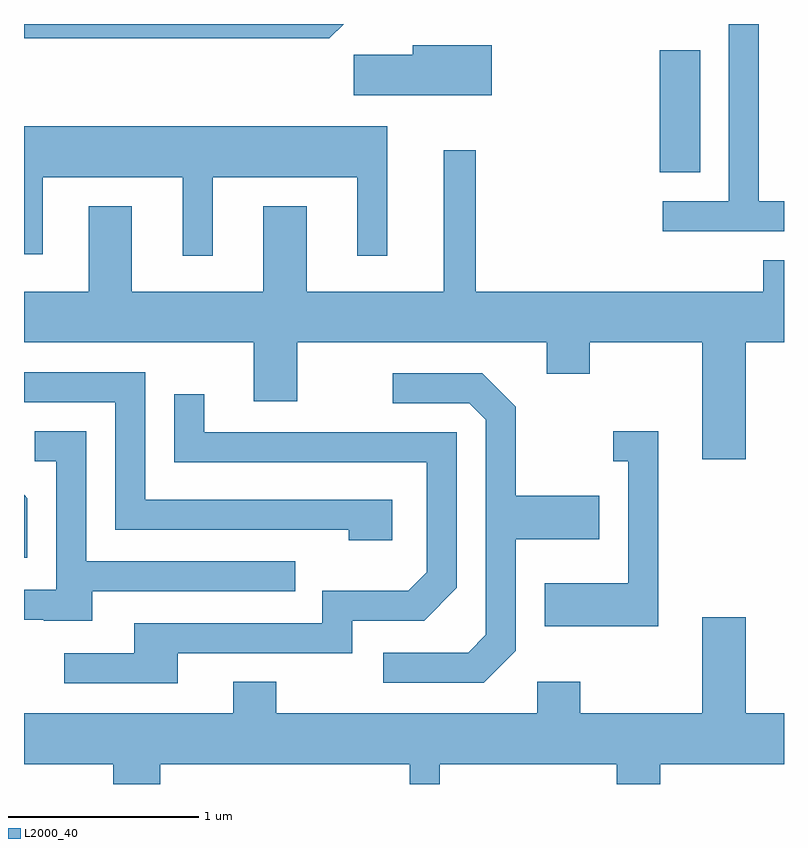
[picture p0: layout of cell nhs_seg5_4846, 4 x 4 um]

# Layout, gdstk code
import gdstk
lib = gdstk.Library(unit=1e-6, precision=1e-09)
def R(c, l, rs):  # rectangles x0, y0, x1, y1
    for r in rs: c.add(gdstk.rectangle(r[:2], r[2:], *l))
def P(c, l, *ps):  # polygons
    for p in ps: c.add(gdstk.Polygon(p, *l))
L2000_40 = (2000, 40)

nhs_seg5_4846 = lib.new_cell('nhs_seg5_4846')
R(nhs_seg5_4846, L2000_40, [(332.956,1413.291,333.169,1413.934)])
P(nhs_seg5_4846, L2000_40, [(331.293,1414.072),(329.611,1414.072),(329.611,1413.996),(331.217,1413.996)],
  [(333.611,1413.139),(333.479,1413.139),(333.479,1414.072),(333.321,1414.072),(333.321,1413.139),(332.973,1413.139),(332.973,1412.981),(333.611,1412.981)],
  [(332.074,1413.959),(331.656,1413.959),(331.656,1413.909),(331.346,1413.909),(331.346,1413.696),(332.074,1413.696)],
  [(330.604,1413.266),(331.366,1413.266),(331.366,1412.853),(331.524,1412.853),(331.524,1413.534),(329.611,1413.534),(329.611,1412.861),(329.709,1412.861),(329.709,1413.266),(330.446,1413.266),(330.446,1412.853),(330.604,1412.853)],
  [(333.409,1412.396),(333.611,1412.396),(333.611,1412.829),(333.501,1412.829),(333.501,1412.664),(331.989,1412.664),(331.989,1413.408),(331.821,1413.408),(331.821,1412.664),(331.099,1412.664),(331.099,1413.114),(330.871,1413.114),(330.871,1412.664),(330.179,1412.664),(330.179,1413.114),(329.951,1413.114),(329.951,1412.664),(329.611,1412.664),(329.611,1412.396),(330.821,1412.396),(330.821,1412.086),(331.049,1412.086),(331.049,1412.396),(332.361,1412.396),(332.361,1412.231),(332.589,1412.231),(332.589,1412.396),(333.181,1412.396),(333.181,1411.781),(333.409,1411.781)],
  [(331.549,1411.569),(330.249,1411.569),(330.249,1412.239),(329.611,1412.239),(329.611,1412.081),(330.091,1412.081),(330.091,1411.411),(331.321,1411.411),(331.321,1411.356),(331.549,1411.356)],
  [(332.199,1410.774),(332.199,1411.361),(332.639,1411.361),(332.639,1411.589),(332.199,1411.589),(332.199,1412.057),(332.022,1412.234),(331.553,1412.234),(331.553,1412.076),(331.954,1412.076),(332.041,1411.989),(332.041,1410.857),(331.949,1410.764),(331.503,1410.764),(331.503,1410.606),(332.032,1410.606)],
  [(330.419,1410.761),(331.339,1410.761),(331.339,1410.931),(331.717,1410.931),(331.889,1411.104),(331.889,1411.924),(330.559,1411.924),(330.559,1412.123),(330.401,1412.123),(330.401,1411.766),(331.731,1411.766),(331.731,1411.187),(331.634,1411.089),(331.181,1411.089),(331.181,1410.919),(330.191,1410.919),(330.191,1410.759),(329.823,1410.759),(329.823,1410.601),(330.419,1410.601)],
  [(332.949,1411.929),(332.713,1411.929),(332.713,1411.771),(332.791,1411.771),(332.791,1411.129),(332.351,1411.129),(332.351,1410.901),(332.949,1410.901)],
  [(329.969,1411.086),(331.038,1411.086),(331.038,1411.244),(329.939,1411.244),(329.939,1411.929),(329.668,1411.929),(329.668,1411.771),(329.781,1411.771),(329.781,1411.094),(329.611,1411.094),(329.611,1410.936),(329.715,1410.936),(329.715,1410.931),(329.969,1410.931)],
  [(329.629,1411.577),(329.611,1411.595),(329.611,1411.263),(329.629,1411.263)],
  [(330.329,1410.176),(331.641,1410.176),(331.641,1410.072),(331.799,1410.072),(331.799,1410.176),(332.731,1410.176),(332.731,1410.072),(332.959,1410.072),(332.959,1410.176),(333.611,1410.176),(333.611,1410.444),(333.409,1410.444),(333.409,1410.949),(333.181,1410.949),(333.181,1410.444),(332.539,1410.444),(332.539,1410.609),(332.311,1410.609),(332.311,1410.444),(330.939,1410.444),(330.939,1410.609),(330.711,1410.609),(330.711,1410.444),(329.611,1410.444),(329.611,1410.176),(330.081,1410.176),(330.081,1410.072),(330.329,1410.072)])

lib.write_gds('nhs_seg5_4846.gds')
